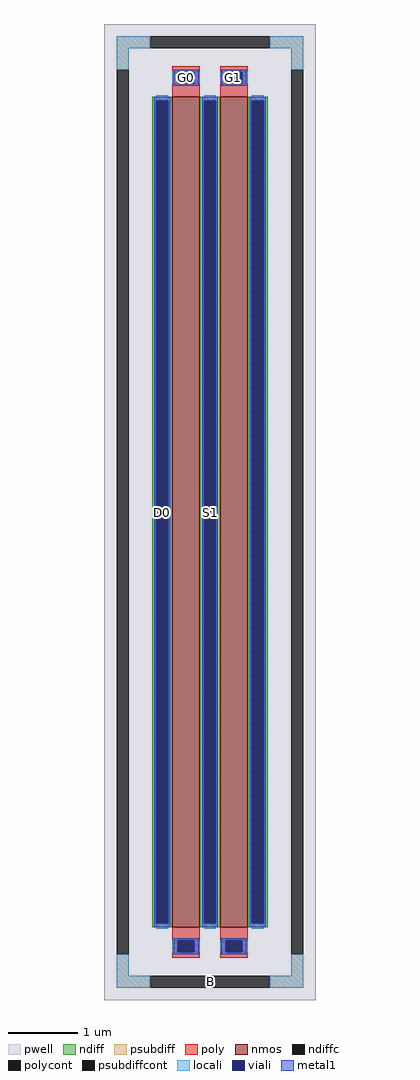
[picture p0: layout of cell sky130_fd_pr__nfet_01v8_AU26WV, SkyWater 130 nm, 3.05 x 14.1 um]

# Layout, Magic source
magic
tech sky130A
magscale 1 2
<< pwell >>
rect -305 -1410 305 1410
<< nmos >>
rect -109 -1200 -29 1200
rect 29 -1200 109 1200
<< ndiff >>
rect -167 1188 -109 1200
rect -167 -1188 -155 1188
rect -121 -1188 -109 1188
rect -167 -1200 -109 -1188
rect -29 1188 29 1200
rect -29 -1188 -17 1188
rect 17 -1188 29 1188
rect -29 -1200 29 -1188
rect 109 1188 167 1200
rect 109 -1188 121 1188
rect 155 -1188 167 1188
rect 109 -1200 167 -1188
<< ndiffc >>
rect -155 -1188 -121 1188
rect -17 -1188 17 1188
rect 121 -1188 155 1188
<< psubdiff >>
rect -269 1340 -173 1374
rect 173 1340 269 1374
rect -269 1278 -235 1340
rect 235 1278 269 1340
rect -269 -1340 -235 -1278
rect 235 -1340 269 -1278
rect -269 -1374 -173 -1340
rect 173 -1374 269 -1340
<< psubdiffcont >>
rect -173 1340 173 1374
rect -269 -1278 -235 1278
rect 235 -1278 269 1278
rect -173 -1374 173 -1340
<< poly >>
rect -109 1272 -29 1288
rect -109 1238 -93 1272
rect -45 1238 -29 1272
rect -109 1200 -29 1238
rect 29 1272 109 1288
rect 29 1238 45 1272
rect 93 1238 109 1272
rect 29 1200 109 1238
rect -109 -1238 -29 -1200
rect -109 -1272 -93 -1238
rect -45 -1272 -29 -1238
rect -109 -1288 -29 -1272
rect 29 -1238 109 -1200
rect 29 -1272 45 -1238
rect 93 -1272 109 -1238
rect 29 -1288 109 -1272
<< polycont >>
rect -93 1238 -45 1272
rect 45 1238 93 1272
rect -93 -1272 -45 -1238
rect 45 -1272 93 -1238
<< locali >>
rect -269 1340 -173 1374
rect 173 1340 269 1374
rect -269 1278 -235 1340
rect 235 1278 269 1340
rect -109 1238 -93 1272
rect -45 1238 -29 1272
rect 29 1238 45 1272
rect 93 1238 109 1272
rect -155 1188 -121 1204
rect -155 -1204 -121 -1188
rect -17 1188 17 1204
rect -17 -1204 17 -1188
rect 121 1188 155 1204
rect 121 -1204 155 -1188
rect -109 -1272 -93 -1238
rect -45 -1272 -29 -1238
rect 29 -1272 45 -1238
rect 93 -1272 109 -1238
rect -269 -1340 -235 -1278
rect 235 -1340 269 -1278
rect -269 -1374 -173 -1340
rect 173 -1374 269 -1340
<< viali >>
rect -93 1238 -45 1272
rect 45 1238 93 1272
rect -155 -1188 -121 1188
rect -17 -1188 17 1188
rect 121 -1188 155 1188
rect -93 -1272 -45 -1238
rect 45 -1272 93 -1238
<< metal1 >>
rect -105 1272 -33 1278
rect -105 1238 -93 1272
rect -45 1238 -33 1272
rect -105 1232 -33 1238
rect 33 1272 105 1278
rect 33 1238 45 1272
rect 93 1238 105 1272
rect 33 1232 105 1238
rect -161 1188 -115 1200
rect -161 -1188 -155 1188
rect -121 -1188 -115 1188
rect -161 -1200 -115 -1188
rect -23 1188 23 1200
rect -23 -1188 -17 1188
rect 17 -1188 23 1188
rect -23 -1200 23 -1188
rect 115 1188 161 1200
rect 115 -1188 121 1188
rect 155 -1188 161 1188
rect 115 -1200 161 -1188
rect -105 -1238 -33 -1232
rect -105 -1272 -93 -1238
rect -45 -1272 -33 -1238
rect -105 -1278 -33 -1272
rect 33 -1238 105 -1232
rect 33 -1272 45 -1238
rect 93 -1272 105 -1238
rect 33 -1278 105 -1272
<< labels >>
rlabel psubdiffcont 0 -1357 0 -1357 0 B
port 11 nsew
rlabel ndiffc -138 0 -138 0 0 D0
port 12 nsew
rlabel polycont -69 1255 -69 1255 0 G0
port 13 nsew
rlabel ndiffc 0 0 0 0 0 S1
port 14 nsew
rlabel polycont 69 1255 69 1255 0 G1
port 15 nsew
<< properties >>
string FIXED_BBOX -252 -1357 252 1357
string gencell sky130_fd_pr__nfet_01v8
string library sky130
string parameters w 12.0 l 0.4 m 1 nf 2 diffcov 100 polycov 100 guard 1 glc 1 grc 1 gtc 1 gbc 1 tbcov 100 rlcov 100 topc 1 botc 1 poverlap 0 doverlap 1 lmin 0.15 wmin 0.42 class mosfet compatible {sky130_fd_pr__nfet_01v8 sky130_fd_pr__nfet_01v8_lvt  sky130_fd_bs_flash__special_sonosfet_star  sky130_fd_pr__nfet_g5v0d10v5 sky130_fd_pr__nfet_05v0_nvt  sky130_fd_pr__nfet_03v3_nvt} full_metal 1 conn_gates 0 viasrc 100 viadrn 100 viagate 100 viagb 0 viagr 0 viagl 0 viagt 0 doports 1
<< end >>
